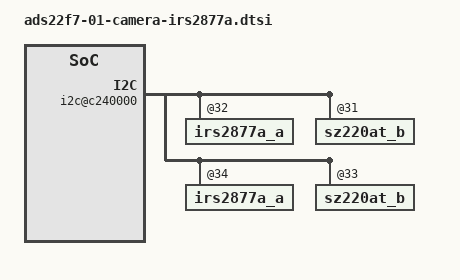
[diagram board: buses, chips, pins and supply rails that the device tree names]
/*
 * Copyright (c) 2018-2021, NVIDIA CORPORATION.  All rights reserved.
 *
 * This program is free software; you can redistribute it and/or modify it
 * under the terms and conditions of the GNU General Public License,
 * version 2, as published by the Free Software Foundation.
 *
 * This program is distributed in the hope it will be useful, but WITHOUT
 * ANY WARRANTY; without even the implied warranty of MERCHANTABILITY or
 * FITNESS FOR A PARTICULAR PURPOSE.  See the GNU General Public License for
 * more details.
 *
 * You should have received a copy of the GNU General Public License
 * along with this program.  If not, see <http://www.gnu.org/licenses/>.
 */
#include <t234-common-modules/ads22f7-01-camera-irs2877a.dtsi>


/* camera control gpio definitions */

/ {
	/*i2c 0*/
	i2c@c240000 {
		irs2877a_a@32 {
			def-addr = <0x32>;
		};
				
		sz220at_b@31 {
			def-addr = <0x31>;
		};
				
		irs2877a_a@34 {
			def-addr = <0x34>;
		};
				
		sz220at_b@33 {
			def-addr = <0x33>;
		};
	};
};
